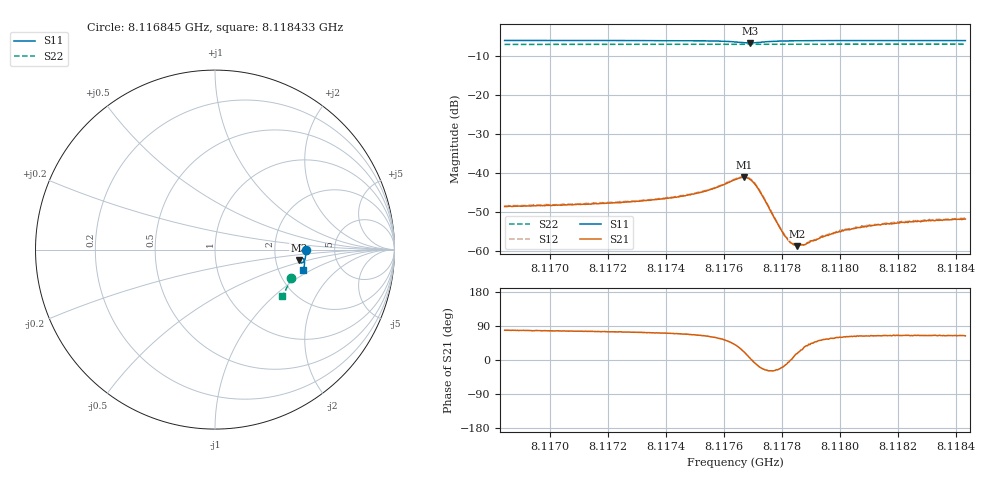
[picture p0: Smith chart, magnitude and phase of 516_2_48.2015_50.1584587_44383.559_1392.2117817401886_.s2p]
#  HZ  S  RI  R  50.00
! Rohde & Schwarz Vector Network Analyzer
! Rohde-Schwarz,ZNB20-2Port,1311601062101988,3.16
! Created: UTC 3/20/2024, 11:59:10 AM
! freq[Hz]  re:S11  im:S11  re:S21  im:S21  re:S12  im:S12  re:S22  im:S22
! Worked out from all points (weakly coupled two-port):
!   401 points, 8.116845 GHz to 8.118433 GHz, reference 50 ohm
!   highest |S21| = -41.08 dB at 8.11767 GHz (marker M1); lowest = -58.8 dB at 8.117853 GHz (marker M2)
!   lowest |S11| = -6.5 dB at 8.11769 GHz (marker M3), VSWR 2.78, Z = 135 - j20.2 ohm
!   |S11| at or under -10 dB: nowhere
!   |S22| runs from -6.9 to -6.8 dB; largest |S21 - S12| = 0.00023
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8.1168448e9  0.5069 -0.00383  0.000744 0.00365  0.000797 0.00372  0.4223 -0.1581
8.1171107e9  0.5058 -0.0247  0.000959 0.00386  0.00104 0.00392  0.4161 -0.1757
8.1173767e9  0.503 -0.0471  0.00146 0.00439  0.00156 0.00446  0.4092 -0.1929
8.117464e9  0.5009 -0.0555  0.00189 0.00476  0.00197 0.00485  0.4068 -0.1986
8.1175355e9  0.4975 -0.0635  0.00262 0.00524  0.00266 0.00534  0.4045 -0.2033
8.1176387e9  0.48 -0.0743  0.00627 0.00533  0.00646 0.00541  0.4008 -0.2097
8.1176705e9  0.4691 -0.0679  0.00825 0.00315  0.00845 0.00314  0.3994 -0.2113
8.1176903e9  0.4671 -0.0582  0.00828 0.000697  0.00847 0.000713  0.3988 -0.2119
8.1177062e9  0.4706 -0.0509  0.00726 -0.000952  0.00747 -0.00101  0.3985 -0.2126
8.117726e9  0.4784 -0.0466  0.00534 -0.00192  0.00547 -0.00199  0.3985 -0.2137
8.1177856e9  0.494 -0.0531  0.00202 -0.000979  0.00207 -0.000936  0.3974 -0.2178
8.1178094e9  0.4963 -0.057  0.00151 -0.000412  0.00156 -0.000441  0.3966 -0.2193
8.1178332e9  0.4976 -0.0607  0.00126 2.32e-05  0.00129 -5.16e-07  0.3958 -0.2209
8.1178531e9  0.4983 -0.0634  0.0011 0.00034  0.00112 0.000352  0.3952 -0.2223
8.1178769e9  0.4986 -0.0665  0.000992 0.000673  0.00103 0.000601  0.3947 -0.2237
8.1179047e9  0.4989 -0.0697  0.000965 0.000941  0.000986 0.000925  0.3937 -0.2256
8.1179444e9  0.4989 -0.0739  0.000902 0.00125  0.00088 0.00127  0.3924 -0.2281
8.1180079e9  0.4985 -0.0801  0.000912 0.00158  0.000934 0.00163  0.3902 -0.2321
8.1180952e9  0.4976 -0.0879  0.000935 0.00186  0.000967 0.00188  0.3874 -0.2376
8.1181707e9  0.4965 -0.0942  0.000965 0.00199  0.00101 0.00206  0.3847 -0.242
8.1183017e9  0.4944 -0.1045  0.00107 0.00222  0.00105 0.00227  0.3801 -0.2501
8.1184327e9  0.4921 -0.1145  0.00114 0.0023  0.00117 0.00234  0.3753 -0.2579
